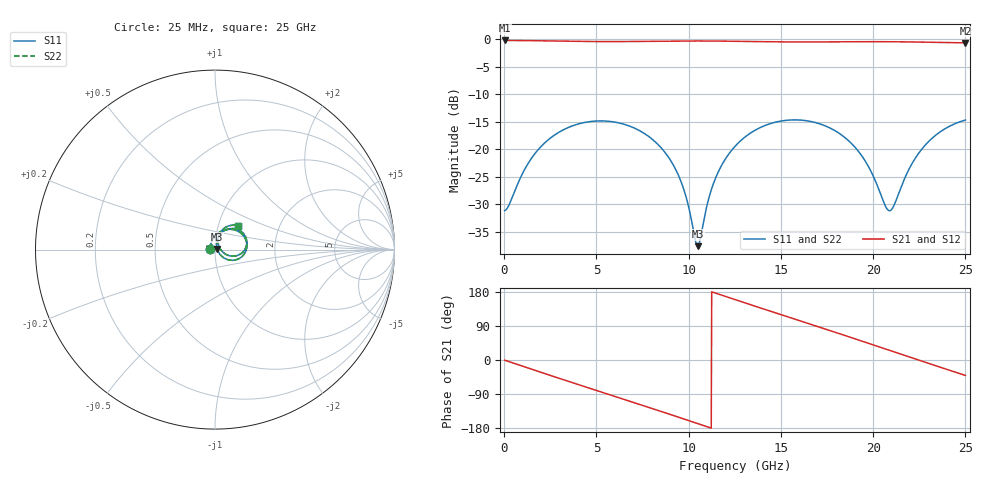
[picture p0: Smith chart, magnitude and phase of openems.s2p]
! thru_BV_vna_clk_w5_out: 2×thru In3.Cu, 6 mm
! stackup: as the board case
! ports: 1 near, 2 far
! openEMS 0.37.0, staircase, fine mesh (dfine 0.035 mm), 570400 cells
# Hz S RI R 50
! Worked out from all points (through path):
!   1000 points, 25 MHz to 25 GHz, reference 50 ohm
!   highest |S21| = -0.24 dB at 25 MHz (marker M1); lowest = -0.7 dB at 25 GHz (marker M2)
!   group delay of S21, straight-line fit = 44.5 ps
!   lowest |S11| = -37.6 dB at 10.5 GHz (marker M3), VSWR 1.03, Z = 51.3 + j0.43 ohm
!   |S11| at or under -10 dB: start of sweep to end of sweep
!   |S22| runs from -37.6 to -14.7 dB; largest |S21 - S12| = 0
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2.5e7  -0.0276 0.00156  0.9722 -0.00695  0.9722 -0.00695  -0.0276 0.00156
1.15e9  -0.00623 0.067  0.9182 -0.3126  0.9182 -0.3126  -0.00623 0.067
1.875e9  0.0256 0.097  0.8322 -0.4917  0.8322 -0.4917  0.0256 0.097
2.925e9  0.0839 0.1134  0.6492 -0.7075  0.6492 -0.7075  0.0839 0.1134
4.2e9  0.1479 0.0887  0.3619 -0.8818  0.3619 -0.8818  0.1479 0.0887
6.275e9  0.1721 -0.00723  -0.1693 -0.9346  -0.1693 -0.9346  0.1721 -0.00723
8.35e9  0.0922 -0.0596  -0.6542 -0.6978  -0.6542 -0.6978  0.0922 -0.0596
9.55e9  0.0376 -0.0369  -0.852 -0.4436  -0.852 -0.4436  0.0376 -0.0369
9.95e9  0.0243 -0.0214  -0.8974 -0.3447  -0.8974 -0.3447  0.0243 -0.0214
1.0375e10  0.0144 -0.00194  -0.9326 -0.2344  -0.9326 -0.2344  0.0144 -0.00194
1.05e10  0.0124 0.0042  -0.9404 -0.2011  -0.9404 -0.2011  0.0124 0.0042
1.14e10  0.0118 0.0502  -0.9593 0.043  -0.9593 0.043  0.0118 0.0502
1.2525e10  0.0421 0.0979  -0.8936 0.3392  -0.8936 0.3392  0.0421 0.0979
1.47e10  0.1415 0.1042  -0.5351 0.7788  -0.5351 0.7788  0.1415 0.1042
1.6675e10  0.1758 0.0254  -0.0544 0.9403  -0.0544 0.9403  0.1758 0.0254
1.785e10  0.1485 -0.0197  0.25 0.9102  0.25 0.9102  0.1485 -0.0197
1.905e10  0.0959 -0.0364  0.5381 0.7789  0.5381 0.7789  0.0959 -0.0364
1.9775e10  0.0624 -0.0273  0.6862 0.6536  0.6862 0.6536  0.0624 -0.0273
2.085e10  0.0258 0.01  0.8504 0.4165  0.8504 0.4165  0.0258 0.01
2.11e10  0.021 0.0216  0.8773 0.3548  0.8773 0.3548  0.021 0.0216
2.275e10  0.033 0.1001  0.9351 -0.0782  0.9351 -0.0782  0.033 0.1001
2.5e10  0.1285 0.1314  0.7005 -0.6038  0.7005 -0.6038  0.1285 0.1314
